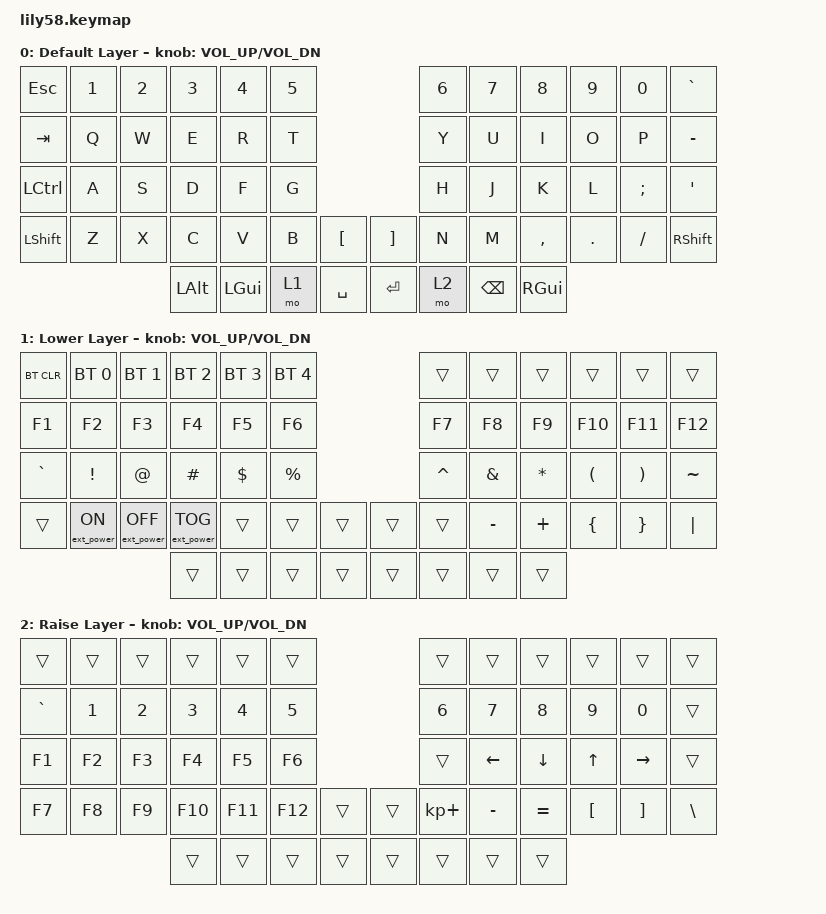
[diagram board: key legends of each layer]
/*
 * Copyright (c) 2020 The ZMK Contributors
 *
 * SPDX-License-Identifier: MIT
 */

#include <behaviors.dtsi>
#include <dt-bindings/zmk/keys.h>
#include <dt-bindings/zmk/bt.h>
#include <dt-bindings/zmk/ext_power.h>

/ {
    combos {
        compatible = "zmk,combos";
        // Gap bead: J+K on Lower.
        combo_l1_esc {
            bindings = <&kp ESC>;
            key-positions = <31 32>;
            layers = <1>;
            timeout-ms = <50>;
        };
        // Gap bead: vertical U+J on Lower.
        combo_l1_tab {
            bindings = <&kp TAB>;
            key-positions = <19 31>;
            layers = <1>;
            timeout-ms = <50>;
        };
        // Gap bead: U+I on Raise.
        combo_l2_esc {
            bindings = <&kp ESC>;
            key-positions = <19 20>;
            layers = <2>;
            timeout-ms = <50>;
        };
        // Anchor bead: non-adjacent Q+T on Raise.
        combo_l2_caps {
            bindings = <&kp CAPS>;
            key-positions = <13 17>;
            layers = <2>;
            timeout-ms = <50>;
        };
        // Anchor bead: J+K+L triple on Raise.
        combo_l2_bspc {
            bindings = <&kp BSPC>;
            key-positions = <31 32 33>;
            layers = <2>;
            timeout-ms = <50>;
        };
    };

    keymap {
        compatible = "zmk,keymap";

        default_layer {
            display-name = "Default Layer";
// ------------------------------------------------------------------------------------------------------------
// |  ESC  |  1  |  2  |  3   |  4   |  5   |                   |  6   |  7    |  8    |  9   |   0   |   `   |
// |  TAB  |  Q  |  W  |  E   |  R   |  T   |                   |  Y   |  U    |  I    |  O   |   P   |   -   |
// |  CTRL |  A  |  S  |  D   |  F   |  G   |                   |  H   |  J    |  K    |  L   |   ;   |   '   |
// | SHIFT |  Z  |  X  |  C   |  V   |  B   |   "["  |  |  "]"  |  N   |  M    |  ,    |  .   |   /   | SHIFT |
//                     | ALT  | GUI  | LOWER|  SPACE |  | ENTER | RAISE| BSPC  | GUI   |
            bindings = <
&kp ESC   &kp N1 &kp N2 &kp N3   &kp N4   &kp N5                     &kp N6 &kp N7   &kp N8    &kp N9  &kp N0   &kp GRAVE
&kp TAB   &kp Q  &kp W  &kp E    &kp R    &kp T                      &kp Y  &kp U    &kp I     &kp O   &kp P    &kp MINUS
&kp LCTRL &kp A  &kp S  &kp D    &kp F    &kp G                      &kp H  &kp J    &kp K     &kp L   &kp SEMI &kp SQT
&kp LSHFT &kp Z  &kp X  &kp C    &kp V    &kp B  &kp LBKT   &kp RBKT &kp N  &kp M    &kp COMMA &kp DOT &kp FSLH &kp RSHFT
                        &kp LALT &kp LGUI &mo 1  &kp SPACE  &kp RET  &mo 2  &kp BSPC &kp RGUI
            >;

            sensor-bindings = <&inc_dec_kp C_VOL_UP C_VOL_DN>;
        };

        lower_layer {
            display-name = "Lower Layer";
// ------------------------------------------------------------------------------------------------------------
// | BTCLR | BT1 | BT2 |  BT3 |  BT4 |  BT5 |                   |      |       |       |      |       |       |
// |  F1   |  F2 |  F3 |  F4  |  F5  |  F6  |                   |  F7  |  F8   |  F9   |  F10 |  F11  |  F12  |
// |   `   |  !  |  @  |  #   |  $   |  %   |                   |  ^   |  &    |  *    |  (   |   )   |   ~   |
// |       |     |     |      |      |      |        |  |       |      |  _    |  +    |  {   |   }   |  "|"  |
//                     |      |      |      |        |  |       |      |       |       |
            bindings = <
&bt BT_CLR &bt BT_SEL 0     &bt BT_SEL 1      &bt BT_SEL 2      &bt BT_SEL 3 &bt BT_SEL 4                 &trans    &trans    &trans    &trans    &trans    &trans
&kp F1     &kp F2           &kp F3            &kp F4            &kp F5       &kp F6                       &kp F7    &kp F8    &kp F9    &kp F10   &kp F11   &kp F12
&kp GRAVE  &kp EXCL         &kp AT            &kp HASH          &kp DOLLAR   &kp PRCNT                    &kp CARET &kp AMPS  &kp ASTRK &kp LPAR  &kp RPAR  &kp TILDE
&trans     &ext_power EP_ON &ext_power EP_OFF &ext_power EP_TOG &trans       &trans    &trans   &trans    &trans    &kp MINUS &kp PLUS  &kp LBRC  &kp RBRC  &kp PIPE
                                              &trans            &trans       &trans    &trans   &trans    &trans    &trans    &trans
            >;

            sensor-bindings = <&inc_dec_kp C_VOL_UP C_VOL_DN>;
        };

        raise_layer {
            display-name = "Raise Layer";
// ------------------------------------------------------------------------------------------------------------
// |       |     |     |      |      |      |                   |      |       |       |      |       |       |
// |   `   |  1  |  2  |  3   |  4   |  5   |                   |  6   |   7   |   8   |  9   |   0   |       |
// |   F1  |  F2 |  F3 |  F4  |  F5  |  F6  |                   |      |   <-  |   v   |  ^   |  ->   |       |
// |   F7  |  F8 |  F9 |  F10 |  F11 |  F12 |        |  |       |  +   |   -   |   =   |  [   |   ]   |   \   |
//                     |      |      |      |        |  |       |      |       |       |
            bindings = <
&trans    &trans &trans &trans  &trans  &trans                       &trans      &trans    &trans    &trans   &trans    &trans
&kp GRAVE &kp N1 &kp N2 &kp N3  &kp N4  &kp N5                       &kp N6      &kp N7    &kp N8    &kp N9   &kp N0    &trans
&kp F1    &kp F2 &kp F3 &kp F4  &kp F5  &kp F6                       &trans      &kp LEFT  &kp DOWN  &kp UP   &kp RIGHT &trans
&kp F7    &kp F8 &kp F9 &kp F10 &kp F11 &kp F12   &trans   &trans    &kp KP_PLUS &kp MINUS &kp EQUAL &kp LBKT &kp RBKT  &kp BSLH
                        &trans  &trans  &trans    &trans   &trans    &trans      &trans    &trans
            >;

            sensor-bindings = <&inc_dec_kp C_VOL_UP C_VOL_DN>;
        };
    };
};
